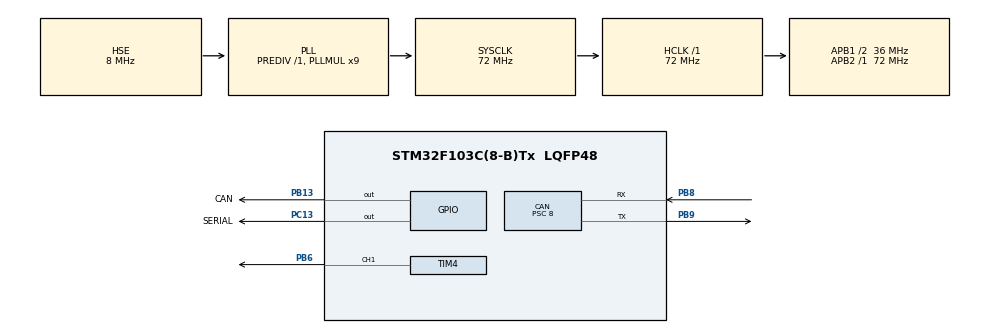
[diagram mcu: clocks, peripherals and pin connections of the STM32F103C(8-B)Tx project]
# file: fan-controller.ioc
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CAN.BS1=CAN_BS1_5TQ
CAN.BS2=CAN_BS2_3TQ
CAN.CalculateTimeBit=2000
CAN.CalculateTimeQuantum=222.22222222222223
CAN.Prescaler=8
Mcu.Family=STM32F1
Mcu.Name=STM32F103C(8-B)Tx
Mcu.Package=LQFP48
NVIC.PriorityGroup=NVIC_PRIORITYGROUP_4
NVIC.USB_HP_CAN1_TX_IRQn=true\:0\:0\:false\:false\:true\:true\:true
NVIC.USB_LP_CAN1_RX0_IRQn=true\:0\:0\:false\:false\:true\:true\:true
PA13.Mode=Serial_Wire
PA13.Signal=SYS_JTMS-SWDIO
PA14.Mode=Serial_Wire
PA14.Signal=SYS_JTCK-SWCLK
PB13.GPIO_Label=CAN
PB13.Signal=GPIO_Output
PB6.GPIO_ModeDefaultPP=GPIO_MODE_AF_PP
PB6.GPIO_Speed=GPIO_SPEED_FREQ_MEDIUM
PB6.Signal=S_TIM4_CH1
PB8.Mode=Master
PB8.Signal=CAN_RX
PB9.Mode=Master
PB9.Signal=CAN_TX
PC13-TAMPER-RTC.GPIO_Label=SERIAL
PC13-TAMPER-RTC.PinState=GPIO_PIN_SET
PC13-TAMPER-RTC.Signal=GPIO_Output
PD0-OSC_IN.Mode=HSE-External-Oscillator
PD0-OSC_IN.Signal=RCC_OSC_IN
PD1-OSC_OUT.Mode=HSE-External-Oscillator
PD1-OSC_OUT.Signal=RCC_OSC_OUT
ProjectManager.HeapSize=0x200
ProjectManager.StackSize=0x400
ProjectManager.TargetToolchain=STM32CubeIDE
RCC.AHBFreq_Value=72000000
RCC.APB1CLKDivider=RCC_HCLK_DIV2
RCC.APB1Freq_Value=36000000
RCC.APB1TimFreq_Value=72000000
RCC.APB2Freq_Value=72000000
RCC.APB2TimFreq_Value=72000000
RCC.HCLKFreq_Value=72000000
RCC.PLLMUL=RCC_PLL_MUL9
RCC.PLLSourceVirtual=RCC_PLLSOURCE_HSE
RCC.SYSCLKFreq_VALUE=72000000
RCC.SYSCLKSource=RCC_SYSCLKSOURCE_PLLCLK
RCC.USBFreq_Value=72000000
SH.S_TIM4_CH1.0=TIM4_CH1,PWM Generation1 CH1
TIM4.Channel-PWM\ Generation1\ CH1=TIM_CHANNEL_1
TIM4.Period=100
TIM4.Prescaler=72
TIM4.Pulse-PWM\ Generation1\ CH1=0
board=custom

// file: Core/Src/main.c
/* USER CODE BEGIN Header */
/**
  ******************************************************************************
  * @file           : main.c
  * @brief          : Main program body
  ******************************************************************************
  * @attention
  *
  * <h2><center>&copy; Copyright (c) 2019 STMicroelectronics.
  * All rights reserved.</center></h2>
  *
  * This software component is licensed by ST under BSD 3-Clause license,
  * the "License"; You may not use this file except in compliance with the
  * License. You may obtain a copy of the License at:
  *                        opensource.org/licenses/BSD-3-Clause
  *
  ******************************************************************************
  */
/* USER CODE END Header */

#include "main.h"

/* USER CODE BEGIN Includes */
#include "stdbool.h"
/* USER CODE END Includes */

/* USER CODE BEGIN PD */
#define TEMPMAX 210
#define TEMPMIN 160

/* USER CODE END PD */

CAN_HandleTypeDef hcan;

TIM_HandleTypeDef htim4;

/* USER CODE BEGIN PV */
CAN_FilterTypeDef	sFilterConfig;
CAN_TxHeaderTypeDef	TxHeader;
CAN_RxHeaderTypeDef RxHeader;
uint8_t				TxData[8];
uint8_t				RxData[8];
uint32_t			TxMailbox;

uint16_t msg_length = 0;
uint32_t irq_counter = 0;

uint32_t time_now = 0;
uint16_t temp_clt_f = 0;
uint16_t fan_speed_perc = 0;

/* Buffer used for reception */
//uint8_t aRxBuffer[RXBUFFERSIZE];
/* USER CODE END PV */

void SystemClock_Config(void);
static void MX_GPIO_Init(void);
static void MX_CAN_Init(void);
static void MX_TIM4_Init(void);
/* USER CODE BEGIN PFP */
void Initialize();
void user_pwm_out(uint16_t speed);
//void Compose_CAN_msg(uint8_t offset, uint8_t mtype, uint8_t fromid, uint8_t toid, uint8_t table, uint8_t length, uint64_t data);

/* USER CODE END PFP */

int main(void)
{

  /* MCU Configuration--------------------------------------------------------*/

  /* Reset of all peripherals, Initializes the Flash interface and the Systick. */
  HAL_Init();

  /* Configure the system clock */
  SystemClock_Config();

  /* Initialize all configured peripherals */
  MX_GPIO_Init();
  MX_CAN_Init();
  MX_TIM4_Init();
  /* USER CODE BEGIN 2 */
  Initialize();
  /* USER CODE END 2 */

  /* Infinite loop */
  /* USER CODE BEGIN WHILE */
  while (1)
  {
//	  HAL_GPIO_TogglePin(GPIOC,GPIO_PIN_13);
//	  HAL_GPIO_TogglePin(GPIOB,GPIO_PIN_13);
//	  HAL_Delay(500);

	  user_pwm_out(fan_speed_perc);

//	  fan_speed_perc += 1;
//
//	  if (fan_speed_perc > 99)
//	  	  fan_speed_perc = 0;

	  // check if we started the turn-on-delay

    /* USER CODE END WHILE */

  }
}

void SystemClock_Config(void)
{
  RCC_OscInitTypeDef RCC_OscInitStruct = {0};
  RCC_ClkInitTypeDef RCC_ClkInitStruct = {0};

  /** Initializes the CPU, AHB and APB busses clocks
  */
  RCC_OscInitStruct.OscillatorType = RCC_OSCILLATORTYPE_HSE;
  RCC_OscInitStruct.HSEState = RCC_HSE_ON;
  RCC_OscInitStruct.HSEPredivValue = RCC_HSE_PREDIV_DIV1;
  RCC_OscInitStruct.HSIState = RCC_HSI_ON;
  RCC_OscInitStruct.PLL.PLLState = RCC_PLL_ON;
  RCC_OscInitStruct.PLL.PLLSource = RCC_PLLSOURCE_HSE;
  RCC_OscInitStruct.PLL.PLLMUL = RCC_PLL_MUL9;
  if (HAL_RCC_OscConfig(&RCC_OscInitStruct) != HAL_OK)
  {
    Error_Handler();
  }
  /** Initializes the CPU, AHB and APB busses clocks
  */
  RCC_ClkInitStruct.ClockType = RCC_CLOCKTYPE_HCLK|RCC_CLOCKTYPE_SYSCLK
                              |RCC_CLOCKTYPE_PCLK1|RCC_CLOCKTYPE_PCLK2;
  RCC_ClkInitStruct.SYSCLKSource = RCC_SYSCLKSOURCE_PLLCLK;
  RCC_ClkInitStruct.AHBCLKDivider = RCC_SYSCLK_DIV1;
  RCC_ClkInitStruct.APB1CLKDivider = RCC_HCLK_DIV2;
  RCC_ClkInitStruct.APB2CLKDivider = RCC_HCLK_DIV1;

  if (HAL_RCC_ClockConfig(&RCC_ClkInitStruct, FLASH_LATENCY_2) != HAL_OK)
  {
    Error_Handler();
  }
}

static void MX_CAN_Init(void)
{

  hcan.Instance = CAN1;
  hcan.Init.Prescaler = 8;
  hcan.Init.Mode = CAN_MODE_NORMAL;
  hcan.Init.SyncJumpWidth = CAN_SJW_1TQ;
  hcan.Init.TimeSeg1 = CAN_BS1_5TQ;
  hcan.Init.TimeSeg2 = CAN_BS2_3TQ;
  hcan.Init.TimeTriggeredMode = DISABLE;
  hcan.Init.AutoBusOff = DISABLE;
  hcan.Init.AutoWakeUp = DISABLE;
  hcan.Init.AutoRetransmission = DISABLE;
  hcan.Init.ReceiveFifoLocked = DISABLE;
  hcan.Init.TransmitFifoPriority = DISABLE;
  if (HAL_CAN_Init(&hcan) != HAL_OK)
  {
    Error_Handler();
  }
  /* USER CODE BEGIN CAN_Init 2 */
  sFilterConfig.FilterBank = 0; // 0..13 for CAN1, 14..27 for CAN2
  //sFilterConfig.FilterFIFOAssignment = CAN_FILTER_FIFO0;
  sFilterConfig.SlaveStartFilterBank = 14;
  sFilterConfig.FilterFIFOAssignment = CAN_RX_FIFO0;
  sFilterConfig.FilterMode = CAN_FILTERMODE_IDMASK;
  sFilterConfig.FilterScale = CAN_FILTERSCALE_32BIT;
  sFilterConfig.FilterIdHigh = 0x0000;
  sFilterConfig.FilterIdLow = 0x0000;
  sFilterConfig.FilterMaskIdHigh = 0x0000;
  sFilterConfig.FilterMaskIdLow = 0x0000;
  sFilterConfig.FilterActivation = ENABLE;
  if (HAL_CAN_ConfigFilter(&hcan, &sFilterConfig) != HAL_OK)
  {
    /* Filter configuration Error */
    Error_Handler();
  }
  // now start the can peripheral
  if (HAL_CAN_Start(&hcan) != HAL_OK)
  {
  	Error_Handler();
  }
  // activate CAN RX IRQ
  if (HAL_CAN_ActivateNotification(&hcan, CAN_IT_RX_FIFO0_MSG_PENDING) != HAL_OK)
  {
  	Error_Handler();
  }
  // send test message
//  TxHeader.DLC = 4;
//  TxHeader.StdId = 0x123;
//  TxData[0] = 0x01;
//  TxData[1] = 0x02;
//  TxData[2] = 0x03;
//  TxData[3] = 0x04;
//  TxMailbox = 0;
//  if (HAL_CAN_AddTxMessage(&hcan, &TxHeader, &TxData, &TxMailbox) != HAL_OK)
//  {
//  	Error_Handler();
//  }
  /* USER CODE END CAN_Init 2 */

}

static void MX_TIM4_Init(void)
{

  TIM_MasterConfigTypeDef sMasterConfig = {0};
  TIM_OC_InitTypeDef sConfigOC = {0};

  htim4.Instance = TIM4;
  htim4.Init.Prescaler = 72;
  htim4.Init.CounterMode = TIM_COUNTERMODE_UP;
  htim4.Init.Period = 100;
  htim4.Init.ClockDivision = TIM_CLOCKDIVISION_DIV1;
  htim4.Init.AutoReloadPreload = TIM_AUTORELOAD_PRELOAD_DISABLE;
  if (HAL_TIM_PWM_Init(&htim4) != HAL_OK)
  {
    Error_Handler();
  }
  sMasterConfig.MasterOutputTrigger = TIM_TRGO_RESET;
  sMasterConfig.MasterSlaveMode = TIM_MASTERSLAVEMODE_DISABLE;
  if (HAL_TIMEx_MasterConfigSynchronization(&htim4, &sMasterConfig) != HAL_OK)
  {
    Error_Handler();
  }
  sConfigOC.OCMode = TIM_OCMODE_PWM1;
  sConfigOC.Pulse = 0;
  sConfigOC.OCPolarity = TIM_OCPOLARITY_HIGH;
  sConfigOC.OCFastMode = TIM_OCFAST_DISABLE;
  if (HAL_TIM_PWM_ConfigChannel(&htim4, &sConfigOC, TIM_CHANNEL_1) != HAL_OK)
  {
    Error_Handler();
  }
  HAL_TIM_MspPostInit(&htim4);

}

static void MX_GPIO_Init(void)
{
  GPIO_InitTypeDef GPIO_InitStruct = {0};

  /* GPIO Ports Clock Enable */
  __HAL_RCC_GPIOC_CLK_ENABLE();
  __HAL_RCC_GPIOD_CLK_ENABLE();
  __HAL_RCC_GPIOB_CLK_ENABLE();
  __HAL_RCC_GPIOA_CLK_ENABLE();

  /*Configure GPIO pin Output Level */
  HAL_GPIO_WritePin(SERIAL_GPIO_Port, SERIAL_Pin, GPIO_PIN_SET);

  /*Configure GPIO pin Output Level */
  HAL_GPIO_WritePin(CAN_GPIO_Port, CAN_Pin, GPIO_PIN_RESET);

  /*Configure GPIO pin : SERIAL_Pin */
  GPIO_InitStruct.Pin = SERIAL_Pin;
  GPIO_InitStruct.Mode = GPIO_MODE_OUTPUT_PP;
  GPIO_InitStruct.Pull = GPIO_NOPULL;
  GPIO_InitStruct.Speed = GPIO_SPEED_FREQ_LOW;
  HAL_GPIO_Init(SERIAL_GPIO_Port, &GPIO_InitStruct);

  /*Configure GPIO pin : CAN_Pin */
  GPIO_InitStruct.Pin = CAN_Pin;
  GPIO_InitStruct.Mode = GPIO_MODE_OUTPUT_PP;
  GPIO_InitStruct.Pull = GPIO_NOPULL;
  GPIO_InitStruct.Speed = GPIO_SPEED_FREQ_LOW;
  HAL_GPIO_Init(CAN_GPIO_Port, &GPIO_InitStruct);

}

/* USER CODE BEGIN 4 */

void Initialize()
{
    HAL_TIM_PWM_Start(&htim4, TIM_CHANNEL_1);
	fan_speed_perc = 0;
}

void user_pwm_out(uint16_t speed)
{
    TIM_OC_InitTypeDef sConfigOC;

    htim4.Instance->CCR1 = speed;
//    sConfigOC.OCMode = TIM_OCMODE_PWM1;
//    sConfigOC.Pulse = speed;
//    sConfigOC.OCPolarity = TIM_OCPOLARITY_HIGH;
//    sConfigOC.OCFastMode = TIM_OCFAST_DISABLE;
//    HAL_TIM_PWM_ConfigChannel(&htim4, &sConfigOC, TIM_CHANNEL_1);
}

uint16_t linear_interp_a(uint16_t x0, uint16_t y0, uint16_t x1, uint16_t y1, uint16_t x)
{
	uint16_t t;

    if (x <= x0) { return y0; }
    if (x >= x1) { return y1; }

    t =  (x-x0);
    t /= (x1-x0);

    return y0 + t*(y1-y0);
}

void Parse_CAN_data()
{
  switch (RxHeader.IDE)
  {
  case CAN_ID_STD:
    switch (RxHeader.StdId)
    {
    case 1520: // Group 0
      if ((RxData[6] << 8 | RxData[7]) >= 1000)
      {

      }
      break;

    case 1522:
    	temp_clt_f = (RxData[6] << 8 | RxData[7]);
    	fan_speed_perc = linear_interp_a(TEMPMIN, 0, TEMPMAX, 100, temp_clt_f);
    	break;

    default:
      break;
    }
    break;

  case CAN_ID_EXT:
    switch (RxHeader.ExtId)
    {
    case 33416: // request for AFR data
                //    if ((RxData[2] & 0xF) == 8)
//      Compose_CAN_msg((RxData[1] << 3 | RxData[2] >> 5), 2, 5, 0, (RxData[0] & 0x1F), (RxData[2] & 0xF), 1);
      break;

    default:
      break;
    }
    break;

  default:
    break;
  }

  //  switch (RxHeader.ExtId)
  //  {
  //  case 0x8308: // from id 0, to id 6, table 1, offset 0, mtype 1;  (MS requesting button status)
  //    // we got data request from MS
  //	  //Compose_CAN_msg();
  //  case
  //    break;
  //
  //  default:
  //    break;
  //  }
}

//void Compose_CAN_msg(uint8_t offset, uint8_t mtype, uint8_t fromid, uint8_t toid, uint8_t table, uint8_t length, uint64_t data)
//{
//  TxData[0] = AFR_to_ADC_counts(o2_sensor[0].AFR) >> 8;
//  TxData[1] = AFR_to_ADC_counts(o2_sensor[0].AFR) & 0xFF;
////  TxData[2] = AFR_to_ADC_counts(o2_sensor[1].AFR) >> 8;
////  TxData[3] = AFR_to_ADC_counts(o2_sensor[1].AFR) & 0xFF;
////  TxData[4] = AFR_to_ADC_counts(o2_sensor[2].AFR) >> 8;
////  TxData[5] = AFR_to_ADC_counts(o2_sensor[2].AFR) & 0xFF;
////  TxData[6] = AFR_to_ADC_counts(o2_sensor[3].AFR) >> 8;
////  TxData[7] = AFR_to_ADC_counts(o2_sensor[3].AFR) & 0xFF;
//   TxData[2] = o2_sensor[0].function_code >> 8;
//   TxData[3] = o2_sensor[0].function_code & 0xFF;
//   TxData[4] = o2_sensor[0].warmup >> 8;
//   TxData[5] = o2_sensor[0].warmup & 0xFF;
//   TxData[6] = o2_sensor[0].error_code >> 8;
//   TxData[7] = o2_sensor[0].error_code & 0xFF;
//  TxHeader.DLC = length;
//  TxMailbox = 0;
//  TxHeader.ExtId = (offset << 18) | (mtype << 15) | (fromid << 11) | (toid << 7) | (table << 3);
//  TxHeader.IDE = CAN_ID_EXT;
//  if (HAL_CAN_AddTxMessage(&hcan, &TxHeader, &TxData, &TxMailbox) != HAL_OK)
//  {
//    Error_Handler();
//  }
//}

void HAL_CAN_RxFifo0MsgPendingCallback(CAN_HandleTypeDef *hcan)
{
	if (HAL_CAN_GetRxMessage(hcan, CAN_RX_FIFO0, &RxHeader, RxData) != HAL_OK)
	{
		Error_Handler();
	}
	else
	{
		HAL_GPIO_TogglePin(GPIOB, CAN_Pin);
		Parse_CAN_data();
		//got valid can data
	}
}

/* USER CODE END 4 */

void Error_Handler(void)
{
}

/************************ (C) COPYRIGHT STMicroelectronics *****END OF FILE****/
